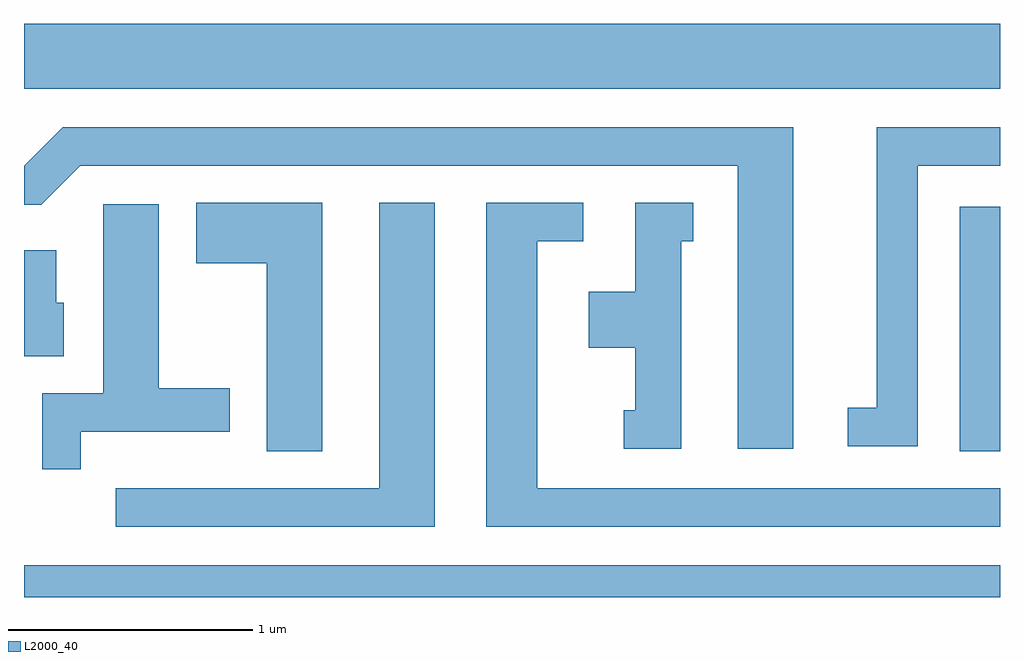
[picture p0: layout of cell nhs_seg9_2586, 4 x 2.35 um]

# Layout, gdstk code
import gdstk
lib = gdstk.Library(unit=1e-6, precision=1e-09)
def R(c, l, rs):  # rectangles x0, y0, x1, y1
    for r in rs: c.add(gdstk.rectangle(r[:2], r[2:], *l))
def P(c, l, *ps):  # polygons
    for p in ps: c.add(gdstk.Polygon(p, *l))
L2000_40 = (2000, 40)

nhs_seg9_2586 = lib.new_cell('nhs_seg9_2586')
R(nhs_seg9_2586, L2000_40, [(261.611,1956.432,265.611,1956.564), (265.446,1957.031,265.611,1958.034), (261.611,1958.516,265.611,1958.784)])
P(nhs_seg9_2586, L2000_40, [(265.274,1958.201),(265.611,1958.201),(265.611,1958.359),(265.106,1958.359),(265.106,1957.209),(264.988,1957.209),(264.988,1957.051),(265.274,1957.051)],
  [(264.764,1958.359),(261.769,1958.359),(261.611,1958.201),(261.611,1958.041),(261.682,1958.041),(261.842,1958.201),(264.536,1958.201),(264.536,1957.041),(264.764,1957.041)],
  [(265.611,1956.879),(263.714,1956.879),(263.714,1957.891),(263.903,1957.891),(263.903,1958.049),(263.506,1958.049),(263.506,1956.721),(265.611,1956.721)],
  [(264.304,1957.891),(264.353,1957.891),(264.353,1958.049),(264.116,1958.049),(264.116,1957.684),(263.926,1957.684),(263.926,1957.456),(264.116,1957.456),(264.116,1957.199),(264.068,1957.199),(264.068,1957.041),(264.304,1957.041)],
  [(263.294,1958.049),(263.066,1958.049),(263.066,1956.879),(261.988,1956.879),(261.988,1956.721),(263.294,1956.721)],
  [(262.834,1958.049),(262.316,1958.049),(262.316,1957.801),(262.606,1957.801),(262.606,1957.031),(262.834,1957.031)],
  [(261.844,1957.111),(262.454,1957.111),(262.454,1957.289),(262.164,1957.289),(262.164,1958.044),(261.936,1958.044),(261.936,1957.269),(261.686,1957.269),(261.686,1956.958),(261.844,1956.958)],
  [(261.774,1957.639),(261.744,1957.639),(261.744,1957.854),(261.611,1957.854),(261.611,1957.421),(261.774,1957.421)])

lib.write_gds('nhs_seg9_2586.gds')
